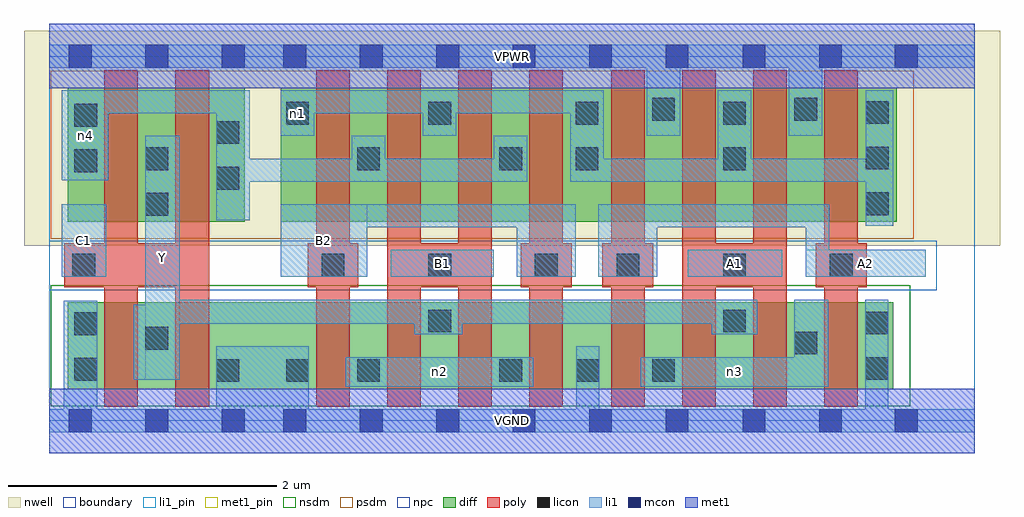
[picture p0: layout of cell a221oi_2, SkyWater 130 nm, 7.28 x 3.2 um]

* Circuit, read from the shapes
.subckt a221oi_2 A1 A2 B1 B2 C1 VGND VPWR Y n1 n2 n3 n4
XM1 Y C1 VGND VSUBS sky130_fd_pr__nfet_01v8 w=0.65 l=0.25 m=2
XM2 n2 B2 VGND VSUBS sky130_fd_pr__nfet_01v8 w=0.65 l=0.25 m=2
XM3 Y B1 n2 VSUBS sky130_fd_pr__nfet_01v8 w=0.65 l=0.25 m=2
XM4 n3 A2 VGND VSUBS sky130_fd_pr__nfet_01v8 w=0.65 l=0.25 m=2
XM5 Y A1 n3 VSUBS sky130_fd_pr__nfet_01v8 w=0.65 l=0.25 m=2
XM6 Y C1 n4 n5 sky130_fd_pr__pfet_01v8 w=1 l=0.25 m=2
XM7 n4 B2 n1 n5 sky130_fd_pr__pfet_01v8 w=1 l=0.25 m=2
XM8 n1 B1 n4 n5 sky130_fd_pr__pfet_01v8 w=1 l=0.25 m=2
XM9 VPWR A2 n1 n5 sky130_fd_pr__pfet_01v8 w=1 l=0.25 m=2
XM10 n1 A1 VPWR n5 sky130_fd_pr__pfet_01v8 w=1 l=0.25 m=2
.ends

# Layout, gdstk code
import gdstk
lib = gdstk.Library(unit=1e-6, precision=1e-09)
def R(c, l, rs):  # rectangles x0, y0, x1, y1
    for r in rs: c.add(gdstk.rectangle(r[:2], r[2:], *l))
def A(c, l, x, y, w, h, nx, ny, dx, dy):  # array of equal rectangles
    R(c, l, [(x+i*dx, y+j*dy, x+i*dx+w, y+j*dy+h) for i in range(nx) for j in range(ny)])
nwell = (64, 20)
diff = (65, 20)
poly = (66, 20)
licon = (66, 44)
li1_pin = (67, 16)
li1 = (67, 20)
mcon = (67, 44)
met1_pin = (68, 16)
met1 = (68, 20)
nsdm = (93, 44)
psdm = (94, 20)
npc = (95, 20)
boundary = (235, 4)

a221oi_2 = lib.new_cell('a221oi_2')
R(a221oi_2, nwell, [(-0.19,1.305,7.09,2.91), (0,1.305,6.9,2.91)])
R(a221oi_2, diff, [(0.135,0.235,6.295,0.885), (0.135,1.485,1.455,2.485), (1.725,1.485,6.32,2.485)])
A(a221oi_2, poly, 1.99, 0.105, 0.25, 2.51, 4, 1, 0.53, 0)
A(a221oi_2, poly, 4.19, 0.105, 0.25, 2.51, 4, 1, 0.53, 0)
R(a221oi_2, poly, [(0.41,0.105,0.66,2.615), (0.94,0.105,1.19,2.615), (0.11,0.995,1.19,1.325), (1.925,0.995,2.305,1.325), (2.52,0.995,3.3,1.325), (3.515,0.995,3.895,1.325), (4.125,0.995,4.505,1.325), (4.72,0.995,5.5,1.325), (5.715,0.995,6.095,1.325)])
A(a221oi_2, licon, 2.03, 1.075, 0.17, 0.17, 3, 1, 0.795, 0)
A(a221oi_2, licon, 4.23, 1.075, 0.17, 0.17, 3, 1, 0.795, 0)
A(a221oi_2, licon, 6.09, 1.535, 0.17, 0.17, 1, 3, 0, 0.34)
A(a221oi_2, licon, 2.825, 2.21, 0.17, 0.17, 3, 1, 1.1, 0)
R(a221oi_2, licon, [(1.245,0.29,1.415,0.46), (1.765,0.29,1.935,0.46), (2.295,0.29,2.465,0.46), (3.355,0.29,3.525,0.46), (3.93,0.29,4.1,0.46), (4.495,0.29,4.665,0.46), (0.185,0.3,0.355,0.47), (6.085,0.305,6.255,0.475), (5.555,0.495,5.725,0.665), (0.715,0.53,0.885,0.7), (0.185,0.64,0.355,0.81), (6.085,0.645,6.255,0.815), (2.825,0.66,2.995,0.83), (5.025,0.66,5.195,0.83), (0.17,1.075,0.34,1.245), (0.715,1.53,0.885,1.7), (1.245,1.725,1.415,1.895), (0.185,1.855,0.355,2.025), (0.715,1.87,0.885,2.04), (2.295,1.87,2.465,2.04), (3.355,1.87,3.525,2.04), (3.925,1.87,4.095,2.04), (5.025,1.87,5.195,2.04), (1.245,2.065,1.415,2.235), (0.185,2.195,0.355,2.365), (1.765,2.21,1.935,2.38), (4.495,2.24,4.665,2.41), (5.555,2.24,5.725,2.41)])
R(a221oi_2, li1_pin, [(0.715,0.305,0.97,2.125), (0.09,1.075,0.425,1.615), (1.725,1.075,2.37,1.615), (2.545,1.075,3.315,1.275), (4.76,1.075,5.465,1.275), (5.64,1.075,6.535,1.275)])
R(a221oi_2, li1, [(0,-0.085,6.9,0.085), (0.105,-0.085,0.355,0.895), (1.245,-0.085,1.935,0.555), (3.93,-0.085,4.1,0.555), (6.085,-0.085,6.255,0.905), (2.21,0.255,3.61,0.475), (4.41,0.255,5.81,0.475), (5.555,0.255,5.81,0.905), (0.63,0.305,0.97,0.865), (0.715,0.305,0.97,2.125), (2.72,0.645,3.08,0.905), (4.94,0.645,5.28,0.905), (0.715,0.725,5.28,0.905), (0.09,1.075,0.425,1.615), (1.725,1.075,2.37,1.615), (2.545,1.075,3.315,1.275), (3.485,1.075,3.925,1.615), (4.095,1.075,4.535,1.615), (4.76,1.075,5.465,1.275), (5.64,1.075,6.535,1.275), (5.64,1.075,5.815,1.615), (1.725,1.445,3.925,1.615), (4.095,1.445,5.815,1.615), (6.09,1.455,6.295,2.465), (1.245,1.495,1.495,2.465), (1.245,1.785,3.565,1.955), (2.255,1.785,2.505,2.125), (3.315,1.785,3.565,2.125), (3.885,1.785,6.295,1.955), (3.885,1.785,4.135,2.465), (4.985,1.785,5.235,2.465), (0.09,1.795,0.44,2.465), (1.725,2.125,1.975,2.465), (2.785,2.125,3.035,2.465), (4.455,2.125,4.705,2.805), (5.515,2.125,5.765,2.805), (0.09,2.295,1.495,2.465), (1.725,2.295,4.135,2.465), (0,2.635,6.9,2.805)])
A(a221oi_2, mcon, 0.145, -0.085, 0.17, 0.17, 3, 2, 0.57, 2.72)
A(a221oi_2, mcon, 1.745, -0.085, 0.17, 0.17, 6, 2, 0.57, 2.72)
R(a221oi_2, mcon, [(5.17,-0.085,5.34,0.085), (5.74,-0.085,5.91,0.085), (6.305,-0.085,6.475,0.085), (5.17,2.635,5.34,2.805), (5.74,2.635,5.91,2.805), (6.305,2.635,6.475,2.805)])
R(a221oi_2, met1_pin, [(0,-0.24,6.9,0.24), (0,2.48,6.9,2.96)])
R(a221oi_2, met1, [(0,-0.24,6.9,0.24), (0,2.48,6.9,2.96)])
R(a221oi_2, nsdm, [(0.01,0.11,6.42,1.01)])
R(a221oi_2, psdm, [(0.01,1.36,6.445,2.61)])
R(a221oi_2, npc, [(0,0.975,6.62,1.345)])
R(a221oi_2, boundary, [(0,0,6.9,2.72)])
a221oi_2.add(gdstk.Label('A1', (5.112,1.175), layer=67, texttype=5))
a221oi_2.add(gdstk.Label('A2', (6.087,1.175), layer=67, texttype=5))
a221oi_2.add(gdstk.Label('B1', (2.93,1.175), layer=67, texttype=5))
a221oi_2.add(gdstk.Label('B2', (2.047,1.345), layer=67, texttype=5))
a221oi_2.add(gdstk.Label('C1', (0.257,1.345), layer=67, texttype=5))
a221oi_2.add(gdstk.Label('Y', (0.842,1.215), layer=67, texttype=5))
a221oi_2.add(gdstk.Label('n2', (2.91,0.365), layer=67, texttype=5))
a221oi_2.add(gdstk.Label('n3', (5.11,0.365), layer=67, texttype=5))
a221oi_2.add(gdstk.Label('n4', (0.265,2.13), layer=67, texttype=5))
a221oi_2.add(gdstk.Label('n1', (1.85,2.295), layer=67, texttype=5))
a221oi_2.add(gdstk.Label('VPWR', (3.45,2.72), layer=68, texttype=5))
a221oi_2.add(gdstk.Label('VGND', (3.45,0), layer=68, texttype=5))
a221oi_2.add(gdstk.Label('A1', (5.112,1.175), layer=67, texttype=16))
a221oi_2.add(gdstk.Label('A2', (6.087,1.175), layer=67, texttype=16))
a221oi_2.add(gdstk.Label('B1', (2.93,1.175), layer=67, texttype=16))
a221oi_2.add(gdstk.Label('B2', (2.047,1.345), layer=67, texttype=16))
a221oi_2.add(gdstk.Label('C1', (0.257,1.345), layer=67, texttype=16))
a221oi_2.add(gdstk.Label('Y', (0.842,1.215), layer=67, texttype=16))
a221oi_2.add(gdstk.Label('VPWR', (3.45,2.72), layer=68, texttype=16))
a221oi_2.add(gdstk.Label('VGND', (3.45,0), layer=68, texttype=16))

lib.write_gds('a221oi_2.gds')
